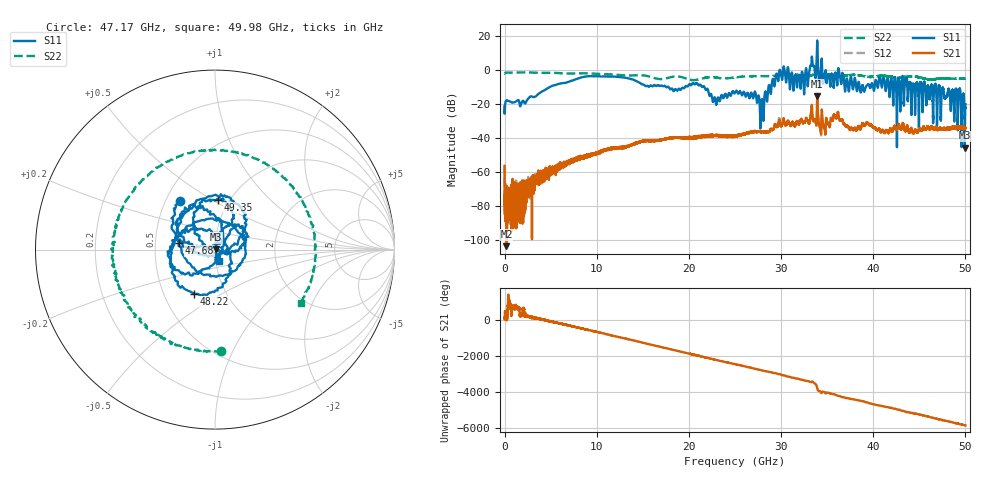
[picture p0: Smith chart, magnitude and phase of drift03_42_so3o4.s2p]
!Created with skrf (http://scikit-rf.org).
# Hz S RI R 50.0
!freq ReS11 ImS11 ReS21 ImS21 ReS12 ImS12 ReS22 ImS22
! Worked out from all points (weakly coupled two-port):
!   10001 points, 300 kHz to 50 GHz, reference 50 ohm
!   highest |S21| = -15.30 dB at 33.92 GHz (marker M1); lowest = -103.6 dB at 200.3 MHz (marker M2)
!   lowest |S11| = -45.6 dB at 49.94 GHz (marker M3), VSWR 1.01, Z = 50.4 + j0.279 ohm
!   |S11| at or under -10 dB: start of sweep to 4.852 GHz; 21.69 GHz to 28.62 GHz (6.934 GHz wide, 27.6 % of centre); 47.2 GHz to end of sweep (the widest 3 of 41)
!   |S22| runs from -5.9 to -1.3 dB; largest |S21 - S12| = 0.018
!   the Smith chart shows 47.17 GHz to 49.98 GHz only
!   S11 on the Smith chart (normalised r, x): 47.17 GHz: 0.59, +0.36; 47.68 GHz: 0.66, +0.05; 48.22 GHz: 0.71, -0.38; 49.35 GHz: 0.89, +0.53; 49.98 GHz: 1.03, -0.13
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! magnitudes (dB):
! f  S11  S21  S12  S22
! 300 kHz  -21.3  -56.3  -56.1  -2.1
! 200.3 MHz  -17.8  -103.6  -79.6  -1.4
! 8.335 GHz  -4.3  -52.3  -51.4  -1.9
! 16.67 GHz  -8.8  -41.2  -41.3  -5.2
! 21.01 GHz  -8.7  -39.5  -39.2  -5.5
! 22.81 GHz  -16.1  -38.5  -38.5  -4.2
! 25 GHz  -13.4  -38.6  -38.8  -4.3
! 27.02 GHz  -15.7  -36.7  -36.0  -3.5
! 27.92 GHz  -17.1  -36.1  -36.5  -3.5
! 29.69 GHz  -6.5  -32.1  -31.6  -3.1
! 32.32 GHz  -1.5  -30.4  -30.7  -3.3
! 33.34 GHz  8.0  -20.4  -21.0  -2.9
! 33.92 GHz  17.5  -15.3  -15.8  -2.4
! 38.82 GHz  -9.0  -31.6  -31.9  -3.4
! 41.67 GHz  -9.0  -37.1  -36.6  -3.6
! 47.17 GHz  -9.5  -34.1  -34.2  -4.9
! 47.68 GHz  -13.8  -34.6  -34.1  -4.9
! 48.22 GHz  -11.3  -35.1  -34.4  -4.9
! 49.35 GHz  -11.1  -34.0  -34.0  -5.1
! 49.94 GHz  -45.6  -33.4  -34.0  -5.0
! 49.98 GHz  -23.4  -33.6  -33.9  -5.0
! 50 GHz  -20.0  -34.3  -34.0  -5.0
